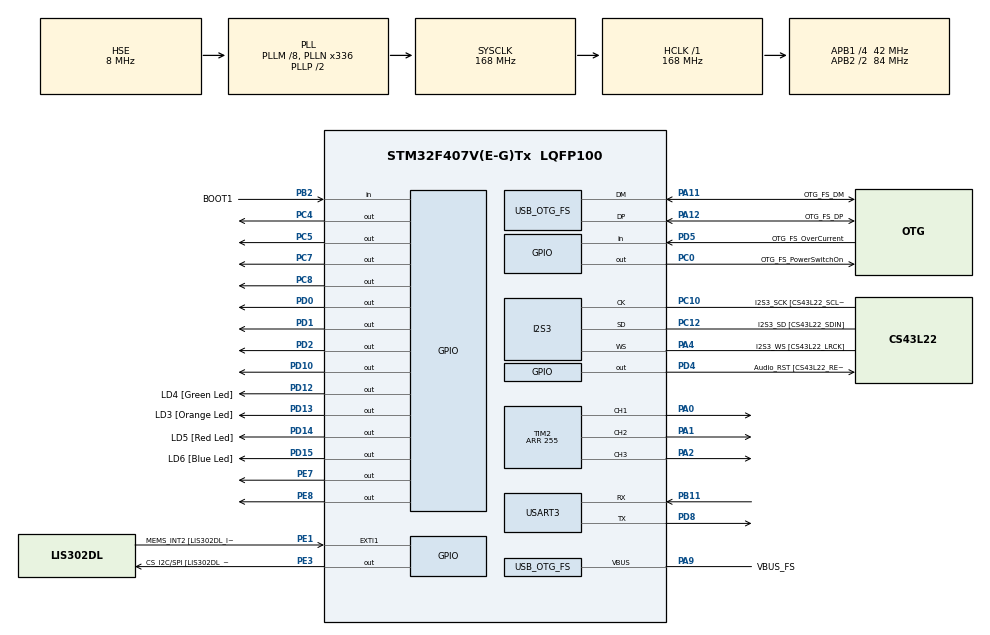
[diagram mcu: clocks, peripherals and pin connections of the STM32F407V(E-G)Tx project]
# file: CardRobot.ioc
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I2S3.ErrorAudioFreq=0.0 %
I2S3.FullDuplexMode=I2S_FULLDUPLEXMODE_DISABLE
I2S3.Instance=SPI$Index
I2S3.RealAudioFreq=8.0 KHz
I2S3.VirtualMode=I2S_MODE_MASTER
Mcu.Family=STM32F4
Mcu.Name=STM32F407V(E-G)Tx
Mcu.Package=LQFP100
NVIC.OTG_FS_IRQn=true\:0\:0\:false\:false\:true\:true\:true\:true
NVIC.PriorityGroup=NVIC_PRIORITYGROUP_0
NVIC.USART3_IRQn=true\:0\:0\:false\:false\:true\:true\:true\:true
PA0-WKUP.Signal=S_TIM2_CH1_ETR
PA1.Signal=S_TIM2_CH2
PA10.GPIO_Label=OTG_FS_ID
PA10.GPIO_Mode=GPIO_MODE_AF_PP
PA10.GPIO_PuPd=GPIO_NOPULL
PA10.GPIO_Speed=GPIO_SPEED_FREQ_LOW
PA10.Signal=USB_OTG_FS_ID
PA11.GPIO_Label=OTG_FS_DM
PA11.GPIO_Mode=GPIO_MODE_AF_PP
PA11.GPIO_PuPd=GPIO_NOPULL
PA11.GPIO_Speed=GPIO_SPEED_FREQ_LOW
PA11.Mode=Host_Only
PA11.Signal=USB_OTG_FS_DM
PA12.GPIO_Label=OTG_FS_DP
PA12.GPIO_Mode=GPIO_MODE_AF_PP
PA12.GPIO_PuPd=GPIO_NOPULL
PA12.GPIO_Speed=GPIO_SPEED_FREQ_LOW
PA12.Mode=Host_Only
PA12.Signal=USB_OTG_FS_DP
PA13.GPIO_Label=SWDIO
PA13.Mode=Serial_Wire
PA13.Signal=SYS_JTMS-SWDIO
PA14.GPIO_Label=SWCLK
PA14.Mode=Serial_Wire
PA14.Signal=SYS_JTCK-SWCLK
PA2.Signal=S_TIM2_CH3
PA4.GPIO_Label=I2S3_WS [CS43L22_LRCK]
PA4.GPIO_Mode=GPIO_MODE_AF_PP
PA4.GPIO_PuPd=GPIO_NOPULL
PA4.GPIO_Speed=GPIO_SPEED_FREQ_LOW
PA4.Mode=Half_Duplex_Master
PA4.Signal=I2S3_WS
PA5.GPIO_Label=SPI1_SCK [LIS302DL_SCL/SPC]
PA5.GPIO_Mode=GPIO_MODE_AF_PP
PA5.GPIO_PuPd=GPIO_NOPULL
PA5.GPIO_Speed=GPIO_SPEED_FREQ_LOW
PA5.Signal=SPI1_SCK
PA6.GPIO_Label=SPI1_MISO [LIS302DL_SDO]
PA6.GPIO_Mode=GPIO_MODE_AF_PP
PA6.GPIO_PuPd=GPIO_NOPULL
PA6.GPIO_Speed=GPIO_SPEED_FREQ_LOW
PA6.Signal=SPI1_MISO
PA7.GPIO_Label=SPI1_MOSI [LIS302DL_SDA/SDI/SDO]
PA7.GPIO_Mode=GPIO_MODE_AF_PP
PA7.GPIO_PuPd=GPIO_NOPULL
PA7.GPIO_Speed=GPIO_SPEED_FREQ_LOW
PA7.Signal=SPI1_MOSI
PA9.GPIO_Label=VBUS_FS
PA9.GPIO_Mode=GPIO_MODE_INPUT
PA9.GPIO_PuPd=GPIO_NOPULL
PA9.Mode=Activate_VBUS
PA9.Signal=USB_OTG_FS_VBUS
PB10.GPIO_Label=CLK_IN [MP45DT02_CLK]
PB10.GPIO_Mode=GPIO_MODE_AF_PP
PB10.GPIO_PuPd=GPIO_NOPULL
PB10.GPIO_Speed=GPIO_SPEED_FREQ_LOW
PB10.Signal=I2S2_CK
PB11.Mode=Asynchronous
PB11.Signal=USART3_RX
PB2.GPIO_Label=BOOT1
PB2.GPIO_Mode=GPIO_MODE_INPUT
PB2.GPIO_PuPd=GPIO_NOPULL
PB2.Signal=GPIO_Input
PB3.GPIO_Label=SWO
PB3.Signal=SYS_JTDO-SWO
PB6.GPIO_Label=Audio_SCL [CS43L22_SCL]
PB6.GPIO_Mode=GPIO_MODE_AF_OD
PB6.GPIO_Pu=GPIO_PULLUP
PB6.GPIO_PuPd=GPIO_NOPULL
PB6.GPIO_Speed=GPIO_SPEED_FREQ_LOW
PB6.Signal=I2C1_SCL
PB9.GPIO_Label=Audio_SDA [CS43L22_SDA]
PB9.GPIO_Mode=GPIO_MODE_AF_OD
PB9.GPIO_Pu=GPIO_PULLUP
PB9.GPIO_PuPd=GPIO_NOPULL
PB9.GPIO_Speed=GPIO_SPEED_FREQ_LOW
PB9.Signal=I2C1_SDA
PC0.GPIO_Label=OTG_FS_PowerSwitchOn
PC0.GPIO_PuPd=GPIO_NOPULL
PC0.GPIO_Speed=GPIO_SPEED_FREQ_LOW
PC0.PinState=GPIO_PIN_SET
PC0.Signal=GPIO_Output
PC10.GPIO_Label=I2S3_SCK [CS43L22_SCLK]
PC10.GPIO_Mode=GPIO_MODE_AF_PP
PC10.GPIO_PuPd=GPIO_NOPULL
PC10.GPIO_Speed=GPIO_SPEED_FREQ_LOW
PC10.Mode=Half_Duplex_Master
PC10.Signal=I2S3_CK
PC12.GPIO_Label=I2S3_SD [CS43L22_SDIN]
PC12.GPIO_Mode=GPIO_MODE_AF_PP
PC12.GPIO_PuPd=GPIO_NOPULL
PC12.GPIO_Speed=GPIO_SPEED_FREQ_LOW
PC12.Mode=Half_Duplex_Master
PC12.Signal=I2S3_SD
PC14-OSC32_IN.GPIO_Label=PC14-OSC32_IN
PC14-OSC32_IN.Mode=LSE-External-Oscillator
PC14-OSC32_IN.Signal=RCC_OSC32_IN
PC15-OSC32_OUT.GPIO_Label=PC15-OSC32_OUT
PC15-OSC32_OUT.Mode=LSE-External-Oscillator
PC15-OSC32_OUT.Signal=RCC_OSC32_OUT
PC3.GPIO_Label=PDM_OUT [MP45DT02_DOUT]
PC3.GPIO_Mode=GPIO_MODE_AF_PP
PC3.GPIO_PuPd=GPIO_NOPULL
PC3.GPIO_Speed=GPIO_SPEED_FREQ_LOW
PC3.Signal=I2S2_SD
PC4.Signal=GPIO_Output
PC5.Signal=GPIO_Output
PC7.Signal=GPIO_Output
PC8.Signal=GPIO_Output
PD0.Signal=GPIO_Output
PD1.Signal=GPIO_Output
PD10.Signal=GPIO_Output
PD12.GPIO_Label=LD4 [Green Led]
PD12.GPIO_PuPd=GPIO_NOPULL
PD12.GPIO_Speed=GPIO_SPEED_FREQ_LOW
PD12.Signal=GPIO_Output
PD13.GPIO_Label=LD3 [Orange Led]
PD13.GPIO_PuPd=GPIO_NOPULL
PD13.GPIO_Speed=GPIO_SPEED_FREQ_LOW
PD13.Signal=GPIO_Output
PD14.GPIO_Label=LD5 [Red Led]
PD14.GPIO_PuPd=GPIO_NOPULL
PD14.GPIO_Speed=GPIO_SPEED_FREQ_LOW
PD14.Signal=GPIO_Output
PD15.GPIO_Label=LD6 [Blue Led]
PD15.GPIO_PuPd=GPIO_NOPULL
PD15.GPIO_Speed=GPIO_SPEED_FREQ_LOW
PD15.Signal=GPIO_Output
PD2.Signal=GPIO_Output
PD4.GPIO_Label=Audio_RST [CS43L22_RESET]
PD4.GPIO_PuPd=GPIO_NOPULL
PD4.GPIO_Speed=GPIO_SPEED_FREQ_LOW
PD4.Signal=GPIO_Output
PD5.GPIO_Label=OTG_FS_OverCurrent
PD5.GPIO_Mode=GPIO_MODE_INPUT
PD5.GPIO_PuPd=GPIO_NOPULL
PD5.Signal=GPIO_Input
PD8.Mode=Asynchronous
PD8.Signal=USART3_TX
PE1.GPIO_Label=MEMS_INT2 [LIS302DL_INT2]
PE1.GPIO_ModeDefaultEXTI=GPIO_MODE_EVT_RISING
PE1.GPIO_PuPd=GPIO_NOPULL
PE1.Signal=GPXTI1
PE3.GPIO_Label=CS_I2C/SPI [LIS302DL_CS_I2C/SPI]
PE3.GPIO_PuPd=GPIO_NOPULL
PE3.GPIO_Speed=GPIO_SPEED_FREQ_LOW
PE3.Signal=GPIO_Output
PE7.Signal=GPIO_Output
PE8.Signal=GPIO_Output
PH0-OSC_IN.GPIO_Label=PH0-OSC_IN
PH0-OSC_IN.Mode=HSE-External-Oscillator
PH0-OSC_IN.Signal=RCC_OSC_IN
PH1-OSC_OUT.GPIO_Label=PH1-OSC_OUT
PH1-OSC_OUT.Mode=HSE-External-Oscillator
PH1-OSC_OUT.Signal=RCC_OSC_OUT
ProjectManager.HeapSize=0x200
ProjectManager.StackSize=0x400
ProjectManager.TargetToolchain=STM32CubeIDE
RCC.48MHZClocksFreq_Value=48000000
RCC.AHBFreq_Value=168000000
RCC.APB1CLKDivider=RCC_HCLK_DIV4
RCC.APB1Freq_Value=42000000
RCC.APB1TimFreq_Value=84000000
RCC.APB2CLKDivider=RCC_HCLK_DIV2
RCC.APB2Freq_Value=84000000
RCC.APB2TimFreq_Value=168000000
RCC.CortexFreq_Value=168000000
RCC.HCLKFreq_Value=168000000
RCC.HSE_VALUE=8000000
RCC.HSI_VALUE=16000000
RCC.PLLM=8
RCC.PLLN=336
RCC.PLLQ=7
RCC.SYSCLKFreq_VALUE=168000000
RCC.SYSCLKSource=RCC_SYSCLKSOURCE_PLLCLK
RCC.VCOOutputFreq_Value=336000000
SH.S_TIM2_CH1_ETR.0=TIM2_CH1,PWM Generation1 CH1
SH.S_TIM2_CH2.0=TIM2_CH2,PWM Generation2 CH2
SH.S_TIM2_CH3.0=TIM2_CH3,PWM Generation3 CH3
TIM1.Prescaler=167
TIM2.Channel-PWM\ Generation1\ CH1=TIM_CHANNEL_1
TIM2.Channel-PWM\ Generation2\ CH2=TIM_CHANNEL_2
TIM2.Channel-PWM\ Generation3\ CH3=TIM_CHANNEL_3
TIM2.Period=255
USART3.VirtualMode=VM_ASYNC
USB_HOST.BSP.number=1
USB_HOST.USBH_HandleTypeDef-CDC_FS=hUsbHostFS
USB_HOST.VirtualModeFS=Cdc
USB_HOST0.BSP.STBoard=false
USB_HOST0.BSP.api=Unknown
USB_HOST0.BSP.instance=PC0
USB_HOST0.BSP.ip=GPIO
USB_HOST0.BSP.mode=Output
USB_HOST0.BSP.name=Drive_VBUS_FS
USB_HOST0.BSP.solution=PC0
USB_OTG_FS.VirtualMode=Host_Only
USB_OTG_FS.phy_itface=HCD_PHY_EMBEDDED
VP_TIM1_VS_ClockSourceINT.Mode=Internal
VP_TIM2_VS_ClockSourceINT.Mode=Internal
VP_USB_HOST_VS_USB_HOST_CDC_FS.Mode=CDC_FS
board=STM32F407G-DISC1

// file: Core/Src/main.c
/* USER CODE BEGIN Header */
/**
 ******************************************************************************
 * @file           : main.c
 * @brief          : Main program body
 ******************************************************************************
 * @attention
 *
 * Copyright (c) 2024 STMicroelectronics.
 * All rights reserved.
 *
 * This software is licensed under terms that can be found in the LICENSE file
 * in the root directory of this software component.
 * If no LICENSE file comes with this software, it is provided AS-IS.
 *
 ******************************************************************************
 */
/* USER CODE END Header */
#include "main.h"
#include "usb_host.h"

/* USER CODE BEGIN PTD */

typedef enum Door {
	ZERO,
	INPUT,
	OUTPUT_DOWN,
	OUTPUT_UP
} IndexerDoor;

typedef enum MS_Mode {
	FULL_STEP,
	HALF_STEP,
	QUARTER_STEP,
	EIGHTH_STEP,
	SIXTEENTH_STEP
} Microstep_Mode;

/* USER CODE END PTD */

/* USER CODE BEGIN PD */

// Pin definitions
#define DIR_PIN   GPIO_PIN_4
#define DIR_PORT  GPIOC
#define STEP_PIN  GPIO_PIN_5
#define STEP_PORT GPIOC
#define IR_PIN GPIO_PIN_8
#define IR_PORT GPIOC
#define SOL_PIN_A GPIO_PIN_7
#define SOL_PIN_B GPIO_PIN_8
#define SOL_PORT GPIOE
#define MICROSTEP_PORT GPIOD
#define MS1_PIN GPIO_PIN_0
#define MS2_PIN GPIO_PIN_1
#define MS3_PIN GPIO_PIN_2

// Indexer configuration
#define CARD_SLOTS 54

// Solenoid controller tuning
#define SOLENOID_ACTIVATE_MILLIS 200
#define SOLENOID_ACTIVATE_PWM    255 // Full power
#define SOLENOID_HOLD_MILLIS     600
#define SOLENOID_HOLD_PWM        180 // From 0 to 255
#define SOLENOID_RETURN_MILLIS   100

// Stepper controller tuning
#define STEP_DELAY_MICROS 850

// Number of micro-steps per card slot
//#define USTEP_PER_SLOT (USTEP_PER_REV / CARD_SLOTS)
#define USTEP_PER_SLOT (5 * ustep_frac)

// Stepper properties
#define STEP_PER_REV  200
#define USTEP_PER_REV (USTEP_PER_SLOT * CARD_SLOTS)

// Offsets for each card door
#define USTEP_IN_OFFSET        (7.5 * USTEP_PER_SLOT)
#define USTEP_OUTDOWN_OFFSET  (18.75 * USTEP_PER_SLOT)
#define USTEP_OUTUP_OFFSET   (-19.25 * USTEP_PER_SLOT)

/* USER CODE END PD */

/* USER CODE BEGIN PM */

#define ABS(x)              (((x) <  0) ? -(x) : (x))

/* USER CODE END PM */

I2S_HandleTypeDef hi2s3;

TIM_HandleTypeDef htim1;
TIM_HandleTypeDef htim2;

UART_HandleTypeDef huart3;

/* USER CODE BEGIN PV */

// The current micro-step within a full revolution (bounded by STEP_PER_REV * MICROSTEP_FRAC)
int16_t motor_abs_ustep = 0;
// The last direction traveled with the stepper motor (CCW is TRUE, CW is FALSE)
uint8_t motor_last_dir = 1;
// The IR value when check_zero() was last called.
uint8_t ir_read_last = 0;
// The Rx buffer of UART for getting wheel index, size of 3 bytes
uint8_t Rx_buffer[3];
// The index received from Rx buffer
unsigned short wheel_index;

// The current microstepping fraction
uint16_t ustep_frac;

// The current door to open
IndexerDoor current_door;
// The current card slot to rotate
uint16_t current_slot;

/* USER CODE END PV */

void SystemClock_Config(void);
static void MX_GPIO_Init(void);
static void MX_I2S3_Init(void);
static void MX_TIM1_Init(void);
static void MX_TIM2_Init(void);
static void MX_USART3_UART_Init(void);
void MX_USB_HOST_Process(void);

/* USER CODE BEGIN PFP */

void microDelay(uint16_t delay);
uint16_t bound_usteps(int16_t usteps);
void motor_set_microsteps(Microstep_Mode ms_mode);
void motor_microstep(uint16_t usteps, uint8_t ccw);
void motor_vibrate(uint16_t usteps, uint32_t millis);
void motor_toslot(uint16_t slot, IndexerDoor tgt);
void solenoid_open(IndexerDoor tgt);
uint8_t ir_read();
void check_zero();

/* USER CODE END PFP */

/* USER CODE BEGIN 0 */

/**
  * @brief Wait for the specified number of microseconds.
  * @param uint16_t delay is an integer of the number of microseconds to wait
  * @note
  * @retval None
  */
void microDelay(uint16_t delay) {
	__HAL_TIM_SET_COUNTER(&htim1, 0);
	while (__HAL_TIM_GET_COUNTER(&htim1) < delay);
}

/**
  * @brief Bounds the given micro-step within a full revolution.
  * @param uint16_t usteps is an integer number current microsteps in the motor's rotation
  * @note
  * @retval Returns the bounded number of microsteps
  */
uint16_t bound_usteps(int16_t usteps) {
	if (ABS(usteps) >= USTEP_PER_REV)
		usteps %= USTEP_PER_REV;
	return (uint16_t)(usteps < 0 ? usteps + USTEP_PER_REV : usteps);
}

// Sets the micro-stepping size for motor rotation.
/**
  * @brief Sets the micro-stepping size for motor rotation.
  * @param Microstep_Mode ms_mode is the micro-stepping size to use.
  * @note
  * @retval None
  */
void motor_set_microsteps(Microstep_Mode ms_mode) {
	switch (ms_mode) {
	case FULL_STEP:
		HAL_GPIO_WritePin(MICROSTEP_PORT, MS1_PIN, GPIO_PIN_RESET);
		HAL_GPIO_WritePin(MICROSTEP_PORT, MS2_PIN, GPIO_PIN_RESET);
		HAL_GPIO_WritePin(MICROSTEP_PORT, MS3_PIN, GPIO_PIN_RESET);
		ustep_frac = 1;
		break;
	case HALF_STEP:
		HAL_GPIO_WritePin(MICROSTEP_PORT, MS1_PIN, GPIO_PIN_SET);
		HAL_GPIO_WritePin(MICROSTEP_PORT, MS2_PIN, GPIO_PIN_RESET);
		HAL_GPIO_WritePin(MICROSTEP_PORT, MS3_PIN, GPIO_PIN_RESET);
		ustep_frac = 2;
		break;
	case QUARTER_STEP:
		HAL_GPIO_WritePin(MICROSTEP_PORT, MS1_PIN, GPIO_PIN_RESET);
		HAL_GPIO_WritePin(MICROSTEP_PORT, MS2_PIN, GPIO_PIN_SET);
		HAL_GPIO_WritePin(MICROSTEP_PORT, MS3_PIN, GPIO_PIN_RESET);
		ustep_frac = 4;
		break;
	case EIGHTH_STEP:
		HAL_GPIO_WritePin(MICROSTEP_PORT, MS1_PIN, GPIO_PIN_SET);
		HAL_GPIO_WritePin(MICROSTEP_PORT, MS2_PIN, GPIO_PIN_SET);
		HAL_GPIO_WritePin(MICROSTEP_PORT, MS3_PIN, GPIO_PIN_RESET);
		ustep_frac = 8;
		break;
	case SIXTEENTH_STEP:
		HAL_GPIO_WritePin(MICROSTEP_PORT, MS1_PIN, GPIO_PIN_SET);
		HAL_GPIO_WritePin(MICROSTEP_PORT, MS2_PIN, GPIO_PIN_SET);
		HAL_GPIO_WritePin(MICROSTEP_PORT, MS3_PIN, GPIO_PIN_SET);
		ustep_frac = 16;
		break;
	}
}

// Rotates the motor by a given number of micro-steps in one direction (CW or CCW).
/**
  * @brief Rotates the motor by a given number of micro-steps in one direction (CW or CCW).
  * @param uint16_t usteps is an integer number current microsteps in the motor's rotation and
  * uint8_t ccw is an integer representing the direction of the wheel, (1 for CW, 0 for CCW)
  * @note
  * @retval None
  */
void motor_microstep(uint16_t usteps, uint8_t ccw) {
	// Signal the motor controller to rotate the stepper
	HAL_GPIO_WritePin(DIR_PORT, DIR_PIN, ccw != 0);
	motor_last_dir = ccw;
	for(uint16_t step = 0; step < usteps; ++step) {
		HAL_GPIO_WritePin(STEP_PORT, STEP_PIN, GPIO_PIN_SET);
		microDelay(STEP_DELAY_MICROS);
		HAL_GPIO_WritePin(STEP_PORT, STEP_PIN, GPIO_PIN_RESET);
		microDelay(STEP_DELAY_MICROS);
	}
	// Bound the absolute micro-step position
	int16_t step_dir = ccw ? 1 : -1;
	motor_abs_ustep = bound_usteps(motor_abs_ustep + usteps * step_dir);
}

// Vibrates the motor by a given number of micro-steps for the specified duration.
/**
  * @brief Vibrates the motor by a given number of micro-steps for the specified duration.
  * @param uint16_t usteps is the number of microsteps to travel for each vibration direction.
  * uint32_t millis is the number of milliseconds to perform the vibration.
  * @note
  * @retval None
  */
void motor_vibrate(uint16_t usteps, uint32_t millis) {
	uint32_t end_time = HAL_GetTick() + millis;
	motor_set_microsteps(FULL_STEP);
	while(HAL_GetTick() < end_time) {
		for(uint16_t dir = 0; dir <= 1; ++dir) {
			motor_last_dir = dir;
			HAL_GPIO_WritePin(DIR_PORT, DIR_PIN, dir != 0);
			for(uint16_t step = 0; step < usteps; ++step) {
				HAL_GPIO_WritePin(STEP_PORT, STEP_PIN, GPIO_PIN_SET);
				microDelay(STEP_DELAY_MICROS * 16);
				HAL_GPIO_WritePin(STEP_PORT, STEP_PIN, GPIO_PIN_RESET);
				microDelay(STEP_DELAY_MICROS * 16);
			}
		}
	}
	motor_set_microsteps(EIGHTH_STEP);
}

/**
  * @brief Rotates the specified card slot to the specified position.
  * Each card index increases counter-clockwise (meaning a clockwise
  * rotation will increase the selected card index).
  * @param slot is an integer containing the slot to move to, tgt toggles the case
  * for each door to be used
  * @note
  * @retval None
  */
void motor_toslot(uint16_t slot, IndexerDoor tgt) {
	int16_t target_ustep_offset;

	// Determine the target door's micro-step offset
	switch (tgt) {
	case ZERO:
		target_ustep_offset = 0;
		break;
	case INPUT:
		target_ustep_offset = USTEP_IN_OFFSET;
		break;
	case OUTPUT_DOWN:
		target_ustep_offset = USTEP_OUTDOWN_OFFSET;
		break;
	case OUTPUT_UP:
		target_ustep_offset = USTEP_OUTUP_OFFSET;
		break;
	default:
		return;
	}

	// Determine the current difference in position
	int16_t motor_target_ustep = bound_usteps(slot * USTEP_PER_SLOT + target_ustep_offset);
	int16_t ustep_diff = motor_target_ustep - motor_abs_ustep;
	uint16_t ustep_num  = ABS(ustep_diff);
	uint8_t  ustep_ccw  = ustep_diff >= 0;
	// If the difference is over half a revolution, flip the direction
	if (ustep_num > USTEP_PER_REV / 2) {
		ustep_num = USTEP_PER_REV - ustep_num;
		ustep_ccw = !ustep_ccw;
	}
	motor_microstep(ustep_num, ustep_ccw);
}

/**
  * @brief Activates the given solenoid long enough to allow a card to pass in/out.
  * @param tgt is the value of which input/output door on the robot to use
  * @note
  * @retval None
  */
void solenoid_open(IndexerDoor tgt) {
	uint32_t tim_channel;

	// Determine the solenoid's PWM channel
	switch (tgt) {
	case INPUT:
		tim_channel = TIM_CHANNEL_2;
		break;
	case OUTPUT_DOWN:
		tim_channel = TIM_CHANNEL_1;
		HAL_GPIO_WritePin(SOL_PORT, SOL_PIN_A, GPIO_PIN_SET);
		HAL_GPIO_WritePin(SOL_PORT, SOL_PIN_B, GPIO_PIN_RESET);
		break;
	case OUTPUT_UP:
		tim_channel = TIM_CHANNEL_1;
		HAL_GPIO_WritePin(SOL_PORT, SOL_PIN_A, GPIO_PIN_RESET);
		HAL_GPIO_WritePin(SOL_PORT, SOL_PIN_B, GPIO_PIN_SET);
		break;
	default:
		return;

	}

	// Activate, hold, and finally return the solenoid's piston
	__HAL_TIM_SET_COMPARE(&htim2, tim_channel, SOLENOID_ACTIVATE_PWM);
	HAL_Delay(SOLENOID_ACTIVATE_MILLIS);
	//motor_vibrate(1, SOLENOID_ACTIVATE_MILLIS);
	__HAL_TIM_SET_COMPARE(&htim2, tim_channel, SOLENOID_HOLD_PWM);
	HAL_Delay(SOLENOID_HOLD_MILLIS);
	//motor_vibrate(1, SOLENOID_HOLD_MILLIS);
	__HAL_TIM_SET_COMPARE(&htim2, tim_channel, 0);
	HAL_Delay(SOLENOID_RETURN_MILLIS);
}

/**
  * @brief Checks if the IR sensor has been blocked.
  * @param
  * @note
  * @retval Return an inverted signal received from the IR sensor
  */
uint8_t ir_read() {
	// Invert normally HIGH signal
	return !HAL_GPIO_ReadPin(IR_PORT, IR_PIN);
}

/**
  * @brief Re-zeros the indexer if ir_read() changes to HIGH.
  * @param
  * @note
  * @retval None
  */
void check_zero() {
	if (ir_read()) {
		if (!ir_read_last) {
			ir_read_last = 1;
			if (motor_last_dir) {
				motor_abs_ustep = 0;
			} else {
				motor_abs_ustep = USTEP_PER_SLOT;
			}
		}
	} else {
		ir_read_last = 0;
	}
}

/* USER CODE END 0 */

int main(void)
{

  /* MCU Configuration--------------------------------------------------------*/

  /* Reset of all peripherals, Initializes the Flash interface and the Systick. */
  HAL_Init();

  /* Configure the system clock */
  SystemClock_Config();

  /* Initialize all configured peripherals */
  MX_GPIO_Init();
  MX_I2S3_Init();
  MX_USB_HOST_Init();
  MX_TIM1_Init();
  MX_TIM2_Init();
  MX_USART3_UART_Init();
  /* USER CODE BEGIN 2 */
	HAL_TIM_Base_Start(&htim1);
	HAL_TIM_PWM_Start(&htim2, TIM_CHANNEL_1);
	HAL_TIM_PWM_Start(&htim2, TIM_CHANNEL_2);
	HAL_TIM_PWM_Start(&htim2, TIM_CHANNEL_3);
	HAL_UART_Receive_IT(&huart3, Rx_buffer, sizeof(Rx_buffer));

	current_door = ZERO;
	current_slot = CARD_SLOTS;
	motor_set_microsteps(EIGHTH_STEP);

//	 Rotate wheel to begin at default position
	while (!ir_read()) {
		motor_microstep(1, 0);
	}
	motor_abs_ustep = 0;
  /* USER CODE END 2 */

  /* Infinite loop */
  /* USER CODE BEGIN WHILE */
	while (1) {
		if (current_door != ZERO) {
			if (current_slot >= 0 && current_slot < CARD_SLOTS) {
				motor_toslot(current_slot, current_door);
				current_slot = CARD_SLOTS;
			}
			solenoid_open(current_door);
			current_door = ZERO;
		}
	}
    /* USER CODE END WHILE */
    MX_USB_HOST_Process();

}

void SystemClock_Config(void)
{
  RCC_OscInitTypeDef RCC_OscInitStruct = {0};
  RCC_ClkInitTypeDef RCC_ClkInitStruct = {0};

  /** Configure the main internal regulator output voltage
  */
  __HAL_RCC_PWR_CLK_ENABLE();
  __HAL_PWR_VOLTAGESCALING_CONFIG(PWR_REGULATOR_VOLTAGE_SCALE1);

  /** Initializes the RCC Oscillators according to the specified parameters
  * in the RCC_OscInitTypeDef structure.
  */
  RCC_OscInitStruct.OscillatorType = RCC_OSCILLATORTYPE_HSE;
  RCC_OscInitStruct.HSEState = RCC_HSE_ON;
  RCC_OscInitStruct.PLL.PLLState = RCC_PLL_ON;
  RCC_OscInitStruct.PLL.PLLSource = RCC_PLLSOURCE_HSE;
  RCC_OscInitStruct.PLL.PLLM = 8;
  RCC_OscInitStruct.PLL.PLLN = 336;
  RCC_OscInitStruct.PLL.PLLP = RCC_PLLP_DIV2;
  RCC_OscInitStruct.PLL.PLLQ = 7;
  if (HAL_RCC_OscConfig(&RCC_OscInitStruct) != HAL_OK)
  {
    Error_Handler();
  }

  /** Initializes the CPU, AHB and APB buses clocks
  */
  RCC_ClkInitStruct.ClockType = RCC_CLOCKTYPE_HCLK|RCC_CLOCKTYPE_SYSCLK
                              |RCC_CLOCKTYPE_PCLK1|RCC_CLOCKTYPE_PCLK2;
  RCC_ClkInitStruct.SYSCLKSource = RCC_SYSCLKSOURCE_PLLCLK;
  RCC_ClkInitStruct.AHBCLKDivider = RCC_SYSCLK_DIV1;
  RCC_ClkInitStruct.APB1CLKDivider = RCC_HCLK_DIV4;
  RCC_ClkInitStruct.APB2CLKDivider = RCC_HCLK_DIV2;

  if (HAL_RCC_ClockConfig(&RCC_ClkInitStruct, FLASH_LATENCY_5) != HAL_OK)
  {
    Error_Handler();
  }
}

static void MX_I2S3_Init(void)
{

  hi2s3.Instance = SPI3;
  hi2s3.Init.Mode = I2S_MODE_MASTER_TX;
  hi2s3.Init.Standard = I2S_STANDARD_PHILIPS;
  hi2s3.Init.DataFormat = I2S_DATAFORMAT_16B;
  hi2s3.Init.MCLKOutput = I2S_MCLKOUTPUT_DISABLE;
  hi2s3.Init.AudioFreq = I2S_AUDIOFREQ_8K;
  hi2s3.Init.CPOL = I2S_CPOL_LOW;
  hi2s3.Init.ClockSource = I2S_CLOCK_PLL;
  hi2s3.Init.FullDuplexMode = I2S_FULLDUPLEXMODE_DISABLE;
  if (HAL_I2S_Init(&hi2s3) != HAL_OK)
  {
    Error_Handler();
  }

}

static void MX_TIM1_Init(void)
{

  TIM_ClockConfigTypeDef sClockSourceConfig = {0};
  TIM_MasterConfigTypeDef sMasterConfig = {0};

  htim1.Instance = TIM1;
  htim1.Init.Prescaler = 167;
  htim1.Init.CounterMode = TIM_COUNTERMODE_UP;
  htim1.Init.Period = 65535;
  htim1.Init.ClockDivision = TIM_CLOCKDIVISION_DIV1;
  htim1.Init.RepetitionCounter = 0;
  htim1.Init.AutoReloadPreload = TIM_AUTORELOAD_PRELOAD_DISABLE;
  if (HAL_TIM_Base_Init(&htim1) != HAL_OK)
  {
    Error_Handler();
  }
  sClockSourceConfig.ClockSource = TIM_CLOCKSOURCE_INTERNAL;
  if (HAL_TIM_ConfigClockSource(&htim1, &sClockSourceConfig) != HAL_OK)
  {
    Error_Handler();
  }
  sMasterConfig.MasterOutputTrigger = TIM_TRGO_RESET;
  sMasterConfig.MasterSlaveMode = TIM_MASTERSLAVEMODE_DISABLE;
  if (HAL_TIMEx_MasterConfigSynchronization(&htim1, &sMasterConfig) != HAL_OK)
  {
    Error_Handler();
  }

}

static void MX_TIM2_Init(void)
{

  TIM_ClockConfigTypeDef sClockSourceConfig = {0};
  TIM_MasterConfigTypeDef sMasterConfig = {0};
  TIM_OC_InitTypeDef sConfigOC = {0};

  htim2.Instance = TIM2;
  htim2.Init.Prescaler = 0;
  htim2.Init.CounterMode = TIM_COUNTERMODE_UP;
  htim2.Init.Period = 255;
  htim2.Init.ClockDivision = TIM_CLOCKDIVISION_DIV1;
  htim2.Init.AutoReloadPreload = TIM_AUTORELOAD_PRELOAD_DISABLE;
  if (HAL_TIM_Base_Init(&htim2) != HAL_OK)
  {
    Error_Handler();
  }
  sClockSourceConfig.ClockSource = TIM_CLOCKSOURCE_INTERNAL;
  if (HAL_TIM_ConfigClockSource(&htim2, &sClockSourceConfig) != HAL_OK)
  {
    Error_Handler();
  }
  if (HAL_TIM_PWM_Init(&htim2) != HAL_OK)
  {
    Error_Handler();
  }
  sMasterConfig.MasterOutputTrigger = TIM_TRGO_RESET;
  sMasterConfig.MasterSlaveMode = TIM_MASTERSLAVEMODE_DISABLE;
  if (HAL_TIMEx_MasterConfigSynchronization(&htim2, &sMasterConfig) != HAL_OK)
  {
    Error_Handler();
  }
  sConfigOC.OCMode = TIM_OCMODE_PWM1;
  sConfigOC.Pulse = 0;
  sConfigOC.OCPolarity = TIM_OCPOLARITY_HIGH;
  sConfigOC.OCFastMode = TIM_OCFAST_DISABLE;
  if (HAL_TIM_PWM_ConfigChannel(&htim2, &sConfigOC, TIM_CHANNEL_1) != HAL_OK)
  {
    Error_Handler();
  }
  if (HAL_TIM_PWM_ConfigChannel(&htim2, &sConfigOC, TIM_CHANNEL_2) != HAL_OK)
  {
    Error_Handler();
  }
  if (HAL_TIM_PWM_ConfigChannel(&htim2, &sConfigOC, TIM_CHANNEL_3) != HAL_OK)
  {
    Error_Handler();
  }
  HAL_TIM_MspPostInit(&htim2);

}

static void MX_USART3_UART_Init(void)
{

  huart3.Instance = USART3;
  huart3.Init.BaudRate = 115200;
  huart3.Init.WordLength = UART_WORDLENGTH_8B;
  huart3.Init.StopBits = UART_STOPBITS_1;
  huart3.Init.Parity = UART_PARITY_NONE;
  huart3.Init.Mode = UART_MODE_TX_RX;
  huart3.Init.HwFlowCtl = UART_HWCONTROL_NONE;
  huart3.Init.OverSampling = UART_OVERSAMPLING_16;
  if (HAL_UART_Init(&huart3) != HAL_OK)
  {
    Error_Handler();
  }

}

static void MX_GPIO_Init(void)
{
  GPIO_InitTypeDef GPIO_InitStruct = {0};

  /* GPIO Ports Clock Enable */
  __HAL_RCC_GPIOE_CLK_ENABLE();
  __HAL_RCC_GPIOC_CLK_ENABLE();
  __HAL_RCC_GPIOH_CLK_ENABLE();
  __HAL_RCC_GPIOA_CLK_ENABLE();
  __HAL_RCC_GPIOB_CLK_ENABLE();
  __HAL_RCC_GPIOD_CLK_ENABLE();

  /*Configure GPIO pin Output Level */
  HAL_GPIO_WritePin(GPIOE, CS_I2C_SPI_Pin|GPIO_PIN_7|GPIO_PIN_8, GPIO_PIN_RESET);

  /*Configure GPIO pin Output Level */
  HAL_GPIO_WritePin(OTG_FS_PowerSwitchOn_GPIO_Port, OTG_FS_PowerSwitchOn_Pin, GPIO_PIN_SET);

  /*Configure GPIO pin Output Level */
  HAL_GPIO_WritePin(GPIOC, GPIO_PIN_4|GPIO_PIN_5|GPIO_PIN_7|GPIO_PIN_8, GPIO_PIN_RESET);

  /*Configure GPIO pin Output Level */
  HAL_GPIO_WritePin(GPIOD, GPIO_PIN_10|LD4_Pin|LD3_Pin|LD5_Pin
                          |LD6_Pin|GPIO_PIN_0|GPIO_PIN_1|GPIO_PIN_2
                          |Audio_RST_Pin, GPIO_PIN_RESET);

  /*Configure GPIO pins : CS_I2C_SPI_Pin PE7 PE8 */
  GPIO_InitStruct.Pin = CS_I2C_SPI_Pin|GPIO_PIN_7|GPIO_PIN_8;
  GPIO_InitStruct.Mode = GPIO_MODE_OUTPUT_PP;
  GPIO_InitStruct.Pull = GPIO_NOPULL;
  GPIO_InitStruct.Speed = GPIO_SPEED_FREQ_LOW;
  HAL_GPIO_Init(GPIOE, &GPIO_InitStruct);

  /*Configure GPIO pins : OTG_FS_PowerSwitchOn_Pin PC4 PC5 PC7
                           PC8 */
  GPIO_InitStruct.Pin = OTG_FS_PowerSwitchOn_Pin|GPIO_PIN_4|GPIO_PIN_5|GPIO_PIN_7
                          |GPIO_PIN_8;
  GPIO_InitStruct.Mode = GPIO_MODE_OUTPUT_PP;
  GPIO_InitStruct.Pull = GPIO_NOPULL;
  GPIO_InitStruct.Speed = GPIO_SPEED_FREQ_LOW;
  HAL_GPIO_Init(GPIOC, &GPIO_InitStruct);

  /*Configure GPIO pin : PDM_OUT_Pin */
  GPIO_InitStruct.Pin = PDM_OUT_Pin;
  GPIO_InitStruct.Mode = GPIO_MODE_AF_PP;
  GPIO_InitStruct.Pull = GPIO_NOPULL;
  GPIO_InitStruct.Speed = GPIO_SPEED_FREQ_LOW;
  GPIO_InitStruct.Alternate = GPIO_AF5_SPI2;
  HAL_GPIO_Init(PDM_OUT_GPIO_Port, &GPIO_InitStruct);

  /*Configure GPIO pins : SPI1_SCK_Pin SPI1_MISO_Pin SPI1_MOSI_Pin */
  GPIO_InitStruct.Pin = SPI1_SCK_Pin|SPI1_MISO_Pin|SPI1_MOSI_Pin;
  GPIO_InitStruct.Mode = GPIO_MODE_AF_PP;
  GPIO_InitStruct.Pull = GPIO_NOPULL;
  GPIO_InitStruct.Speed = GPIO_SPEED_FREQ_LOW;
  GPIO_InitStruct.Alternate = GPIO_AF5_SPI1;
  HAL_GPIO_Init(GPIOA, &GPIO_InitStruct);

  /*Configure GPIO pin : BOOT1_Pin */
  GPIO_InitStruct.Pin = BOOT1_Pin;
  GPIO_InitStruct.Mode = GPIO_MODE_INPUT;
  GPIO_InitStruct.Pull = GPIO_NOPULL;
  HAL_GPIO_Init(BOOT1_GPIO_Port, &GPIO_InitStruct);

  /*Configure GPIO pin : CLK_IN_Pin */
  GPIO_InitStruct.Pin = CLK_IN_Pin;
  GPIO_InitStruct.Mode = GPIO_MODE_AF_PP;
  GPIO_InitStruct.Pull = GPIO_NOPULL;
  GPIO_InitStruct.Speed = GPIO_SPEED_FREQ_LOW;
  GPIO_InitStruct.Alternate = GPIO_AF5_SPI2;
  HAL_GPIO_Init(CLK_IN_GPIO_Port, &GPIO_InitStruct);

  /*Configure GPIO pins : PD10 LD4_Pin LD3_Pin LD5_Pin
                           LD6_Pin PD0 PD1 PD2
                           Audio_RST_Pin */
  GPIO_InitStruct.Pin = GPIO_PIN_10|LD4_Pin|LD3_Pin|LD5_Pin
                          |LD6_Pin|GPIO_PIN_0|GPIO_PIN_1|GPIO_PIN_2
                          |Audio_RST_Pin;
  GPIO_InitStruct.Mode = GPIO_MODE_OUTPUT_PP;
  GPIO_InitStruct.Pull = GPIO_NOPULL;
  GPIO_InitStruct.Speed = GPIO_SPEED_FREQ_LOW;
  HAL_GPIO_Init(GPIOD, &GPIO_InitStruct);

  /*Configure GPIO pin : OTG_FS_OverCurrent_Pin */
  GPIO_InitStruct.Pin = OTG_FS_OverCurrent_Pin;
  GPIO_InitStruct.Mode = GPIO_MODE_INPUT;
  GPIO_InitStruct.Pull = GPIO_NOPULL;
  HAL_GPIO_Init(OTG_FS_OverCurrent_GPIO_Port, &GPIO_InitStruct);

  /*Configure GPIO pins : Audio_SCL_Pin Audio_SDA_Pin */
  GPIO_InitStruct.Pin = Audio_SCL_Pin|Audio_SDA_Pin;
  GPIO_InitStruct.Mode = GPIO_MODE_AF_OD;
  GPIO_InitStruct.Pull = GPIO_PULLUP;
  GPIO_InitStruct.Speed = GPIO_SPEED_FREQ_LOW;
  GPIO_InitStruct.Alternate = GPIO_AF4_I2C1;
  HAL_GPIO_Init(GPIOB, &GPIO_InitStruct);

  /*Configure GPIO pin : MEMS_INT2_Pin */
  GPIO_InitStruct.Pin = MEMS_INT2_Pin;
  GPIO_InitStruct.Mode = GPIO_MODE_EVT_RISING;
  GPIO_InitStruct.Pull = GPIO_NOPULL;
  HAL_GPIO_Init(MEMS_INT2_GPIO_Port, &GPIO_InitStruct);

}

/* USER CODE BEGIN 4 */

/**
  * @brief Logic for what the robot will do next based on the serial data received
  * from the Raspbeery Pi. This includes indexing the wheel to the right slot, opening
  * the correct solenoid, and transmitting an action completion signal
  * @param UART_HandleTypeDef structure which holds the configuration settings and UART
  * state information for UART communication
  * @note
  * @retval None, but calls ReceiveIT function again to enable interrupts again
  */
void HAL_UART_RxCpltCallback(UART_HandleTypeDef *huart)
{
	// Decomposing the received message
	uint8_t action_byte = Rx_buffer[0];
	uint8_t index_byte_10s = Rx_buffer[1] - '0';
	uint8_t index_byte_1s = Rx_buffer[2] - '0';
	wheel_index = 10*index_byte_10s + index_byte_1s;

	// Perform actions based on what action byte was received
	switch(action_byte) {
		case 'i': // i for input
			current_slot = wheel_index;
			current_door = INPUT;
			break;
		case 'd': // d for dispense
			current_slot = wheel_index;
			current_door = OUTPUT_UP;
		default:
			break;
	}
	HAL_UART_Receive_IT(&huart3, Rx_buffer, sizeof(Rx_buffer)); // Enable receive IT again
}
/* USER CODE END 4 */

void Error_Handler(void)
{
	__disable_irq();
	while (1) {
	}
}
